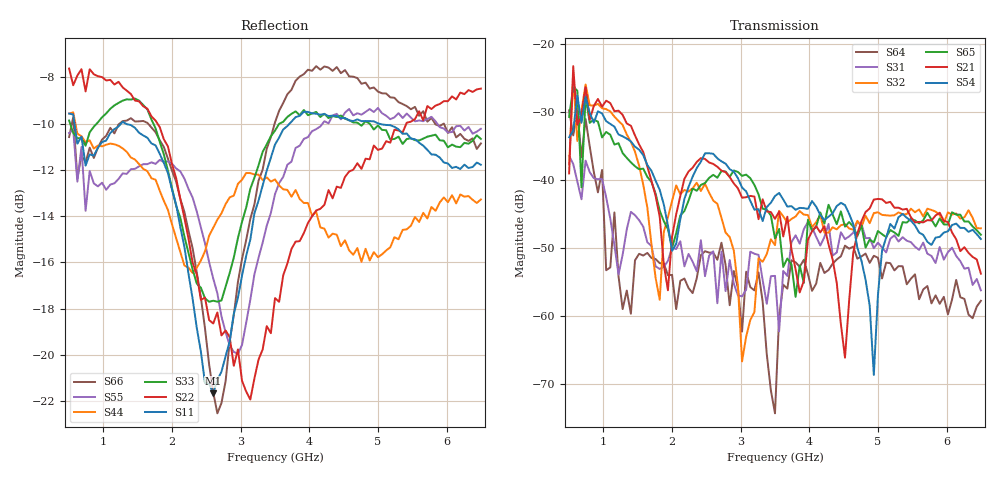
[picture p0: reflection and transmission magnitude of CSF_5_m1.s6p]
!Keysight Technologies,M9804A,MY58100912,A.14.10.03
!Date: Thursday, April 27, 2023 10:28:33
!Correction: S11(C  6-Port  )
!S12(C  6-Port  )
!S13(C  6-Port  )
!S14(C  6-Port  )
!S15(C  6-Port  )
!S16(C  6-Port  )
!S21(C  6-Port  )
!S22(C  6-Port  )
!S23(C  6-Port  )
!S24(C  6-Port  )
!S25(C  6-Port  )
!S26(C  6-Port  )
!S31(C  6-Port  )
!S32(C  6-Port  )
!S33(C  6-Port  )
!S34(C  6-Port  )
!S35(C  6-Port  )
!S36(C  6-Port  )
!S41(C  6-Port  )
!S42(C  6-Port  )
!S43(C  6-Port  )
!S44(C  6-Port  )
!S45(C  6-Port  )
!S46(C  6-Port  )
!S51(C  6-Port  )
!S52(C  6-Port  )
!S53(C  6-Port  )
!S54(C  6-Port  )
!S55(C  6-Port  )
!S56(C  6-Port  )
!S61(C  6-Port  )
!S62(C  6-Port  )
!S63(C  6-Port  )
!S64(C  6-Port  )
!S65(C  6-Port  )
!S66(C  6-Port  )
!S6P File: Measurement: :
# Hz S  RI  R 50
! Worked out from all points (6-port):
!   101 points, 500 MHz to 6.5 GHz, reference 50 ohm
!   strongest paths, dB at 500 MHz, 2 GHz, 3.5 GHz, 5 GHz, 6.5 GHz:
!     S54: -33.7, -50.4, -42.4, -56.9, -48.7
!     S21: -39.0, -48.4, -45.7, -42.8, -53.8
!     S65: -30.7, -50.0, -48.6, -47.5, -48.1
!     S32: -37.7, -43.1, -49.6, -44.8, -47.1
!     S31: -36.4, -50.0, -54.1, -49.2, -56.3
!     S64: -29.7, -54.0, -74.4, -51.5, -57.8
!   lowest |S11| = -21.7 dB at 2.6 GHz (marker M1), VSWR 1.18, Z = 42.6 + j2.07 ohm
!   |S11| at or under -10 dB: 578.5 MHz to 1.258 GHz (679.1 MHz wide, 74 % of centre); 1.324 GHz to 3.714 GHz (2.391 GHz wide, 94.9 % of centre); 5.009 GHz to end of sweep
